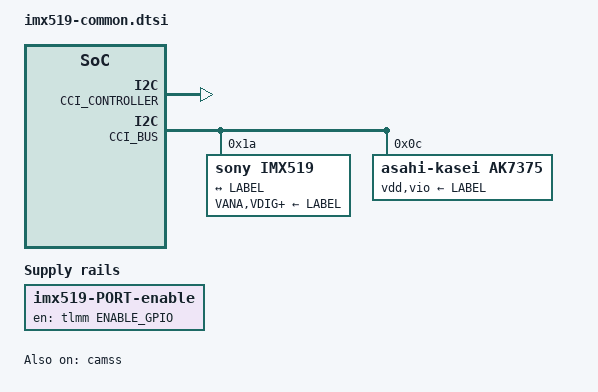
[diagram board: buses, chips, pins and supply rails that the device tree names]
// SPDX-License-Identifier: BSD-3-Clause
// Q6A routing based on Radxa overlays, Copyright (c) 2025 Radxa Computer (Shenzhen) Co., Ltd.
// Sensor and VCM bus configuration follows raspberrypi/linux imx519.dtsi.
#ifndef IMX519_STARTUP_DELAY_US
#define IMX519_STARTUP_DELAY_US 500000
#endif
#define CAT_(a,b) a ## b
#define CAT(a,b) CAT_(a,b)
#define LABEL(name) CAT(CAT(PORT,_imx519_),name)
#define STR_(x) #x
#define STR(x) STR_(x)

/ {
	metadata {
		title = PORT_TITLE;
		compatible = "radxa,dragon-q6a";
		category = "camera";
		exclusive = STR(CCI_BUS);
		description = "Two-lane IMX519 RAW10 with AK7375 lens.";
	};
};

&{/} {
	/* Module oscillator. This profile does not generate XCLK on the connector. */
	LABEL(clk): imx519-PORT-clock {
		compatible = "fixed-clock";
		#clock-cells = <0>;
		clock-frequency = <24000000>;
	};

	/* Common enable for the camera module's on-board supplies. */
	LABEL(power): imx519-PORT-enable {
		compatible = "regulator-fixed";
		regulator-name = STR(imx519-PORT-enable);
		enable-active-high;
		gpios = <&tlmm ENABLE_GPIO 0>;
		pinctrl-names = "default";
		pinctrl-0 = <&LABEL(enable_pins)>;
		startup-delay-us = <IMX519_STARTUP_DELAY_US>;
	};
};

&tlmm {
	LABEL(enable_pins): imx519-PORT-enable-state {
		pins = STR(CAT(gpio,ENABLE_GPIO));
		function = "gpio";
		drive-strength = <2>;
		bias-pull-up;
	};
};

&{/reserved-memory} {
	linux,cma {
		compatible = "shared-dma-pool";
		size = <0 0x08000000>;
		reusable;
		linux,cma-default;
	};
};

&CCI_CONTROLLER { status = "okay"; };

&CCI_BUS {
	#address-cells = <1>;
	#size-cells = <0>;
	status = "okay";

	imx519@1a {
		compatible = "sony,imx519";
		reg = <0x1a>;
		clocks = <&LABEL(clk)>;
		clock-names = "xclk";
		VANA-supply = <&LABEL(power)>;
		VDIG-supply = <&LABEL(power)>;
		VDDL-supply = <&LABEL(power)>;
		lens-focus = <&LABEL(lens)>;
		port {
			LABEL(tx): endpoint {
				data-lanes = <1 2>;
				clock-lanes = <0>;
				clock-noncontinuous;
				link-frequencies = /bits/ 64 <408000000>;
				remote-endpoint = <&LABEL(rx)>;
			};
		};
	};

	LABEL(lens): ak7375@c {
		compatible = "asahi-kasei,ak7375";
		reg = <0x0c>;
		vdd-supply = <&LABEL(power)>;
		vio-supply = <&LABEL(power)>;
	};
};

&camss {
	vdda-phy-supply = <&vreg_l10c_0p88>;
	vdda-pll-supply = <&vreg_l6b_1p2>;
	status = "okay";
	ports {
		#address-cells = <1>;
		#size-cells = <0>;
		port@PHY {
			reg = <PHY>;
			LABEL(rx): endpoint {
				clock-lanes = <7>;
				data-lanes = <0 1>;
				clock-noncontinuous;
				remote-endpoint = <&LABEL(tx)>;
			};
		};
	};
};
